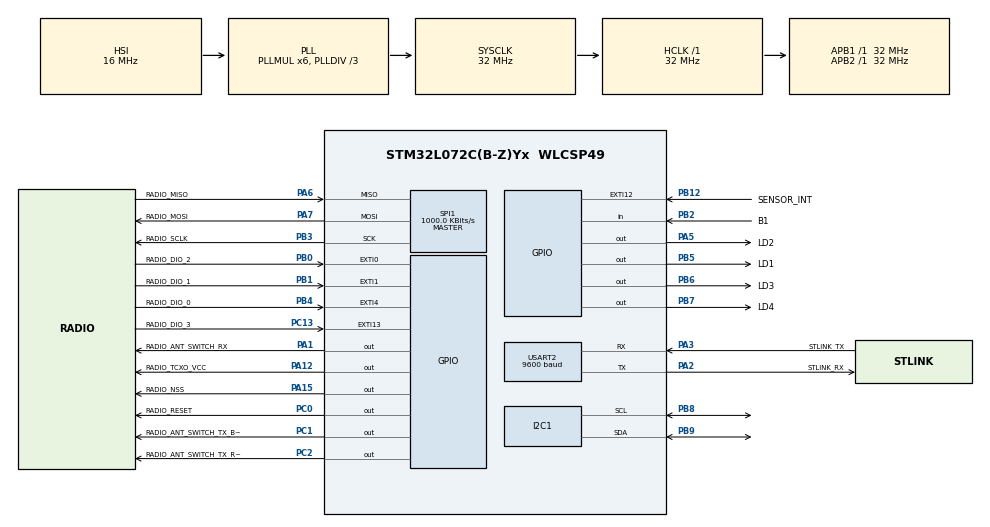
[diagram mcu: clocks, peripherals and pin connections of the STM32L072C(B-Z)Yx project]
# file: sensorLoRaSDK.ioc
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I2C1.Timing=0x00707CBB
Mcu.Family=STM32L0
Mcu.Name=STM32L072C(B-Z)Yx
Mcu.Package=WLCSP49
NVIC.EXTI0_1_IRQn=true\:3\:0\:true\:false\:true\:true\:true\:true
NVIC.EXTI4_15_IRQn=true\:3\:0\:true\:false\:true\:true\:true\:true
NVIC.RTC_IRQn=true\:3\:0\:true\:false\:true\:true\:true\:true
NVIC.TIM6_DAC_IRQn=true\:0\:0\:false\:false\:true\:true\:true\:true
NVIC.USART2_IRQn=true\:2\:0\:true\:false\:true\:true\:true\:true
PA1.GPIO_Label=RADIO_ANT_SWITCH_RX
PA1.GPIO_Speed=GPIO_SPEED_FREQ_HIGH
PA1.PinState=GPIO_PIN_RESET
PA1.Signal=GPIO_Output
PA12.GPIO_Label=RADIO_TCXO_VCC
PA12.GPIO_Speed=GPIO_SPEED_FREQ_HIGH
PA12.Signal=GPIO_Output
PA15.GPIO_Label=RADIO_NSS
PA15.GPIO_Speed=GPIO_SPEED_FREQ_HIGH
PA15.Signal=GPIO_Output
PA2.GPIO_Label=STLINK_RX
PA2.Mode=Asynchronous
PA2.Signal=USART2_TX
PA3.GPIO_Label=STLINK_TX
PA3.Mode=Asynchronous
PA3.Signal=USART2_RX
PA5.GPIO_Label=LD2
PA5.Signal=GPIO_Output
PA6.GPIO_Label=RADIO_MISO
PA6.Mode=Full_Duplex_Master
PA6.Signal=SPI1_MISO
PA7.GPIO_Label=RADIO_MOSI
PA7.Mode=Full_Duplex_Master
PA7.Signal=SPI1_MOSI
PB0.GPIO_Label=RADIO_DIO_2
PB0.Signal=GPXTI0
PB1.GPIO_Label=RADIO_DIO_1
PB1.Signal=GPXTI1
PB12.GPIO_Label=SENSOR_INT
PB12.Signal=GPXTI12
PB2.GPIO_Label=B1
PB2.GPIO_PuPd=GPIO_PULLUP
PB2.Signal=GPIO_Input
PB3.GPIO_Label=RADIO_SCLK
PB3.Mode=Full_Duplex_Master
PB3.Signal=SPI1_SCK
PB4.GPIO_Label=RADIO_DIO_0
PB4.Signal=GPXTI4
PB5.GPIO_Label=LD1
PB5.Signal=GPIO_Output
PB6.GPIO_Label=LD3
PB6.Signal=GPIO_Output
PB7.GPIO_Label=LD4
PB7.Signal=GPIO_Output
PB8.Mode=I2C
PB8.Signal=I2C1_SCL
PB9.Mode=I2C
PB9.Signal=I2C1_SDA
PC0.GPIO_Label=RADIO_RESET
PC0.GPIO_Speed=GPIO_SPEED_FREQ_HIGH
PC0.Signal=GPIO_Output
PC1.GPIO_Label=RADIO_ANT_SWITCH_TX_BOOST
PC1.GPIO_Speed=GPIO_SPEED_FREQ_HIGH
PC1.Signal=GPIO_Output
PC13.GPIO_Label=RADIO_DIO_3
PC13.Signal=GPXTI13
PC14-OSC32_IN.Mode=LSE-External-Oscillator
PC14-OSC32_IN.Signal=RCC_OSC32_IN
PC15-OSC32_OUT.Mode=LSE-External-Oscillator
PC15-OSC32_OUT.Signal=RCC_OSC32_OUT
PC2.GPIO_Label=RADIO_ANT_SWITCH_TX_RFO
PC2.GPIO_Speed=GPIO_SPEED_FREQ_HIGH
PC2.Signal=GPIO_Output
PH0-OSC_IN.Signal=RCC_OSC_IN
PH1-OSC_OUT.Signal=RCC_OSC_OUT
ProjectManager.HeapSize=0x200
ProjectManager.StackSize=0x400
ProjectManager.TargetToolchain=STM32CubeIDE
RCC.AHBFreq_Value=32000000
RCC.APB1Freq_Value=32000000
RCC.APB1TimFreq_Value=32000000
RCC.APB2Freq_Value=32000000
RCC.APB2TimFreq_Value=32000000
RCC.HCLKFreq_Value=32000000
RCC.HSE_VALUE=8000000
RCC.HSI16_VALUE=16000000
RCC.HSI48_VALUE=48000000
RCC.HSI_VALUE=16000000
RCC.Lpuart1ClockSelection=RCC_LPUART1CLKSOURCE_HSI
RCC.MSI_VALUE=2097000
RCC.PLLDIV=RCC_PLLDIV_3
RCC.PLLMUL=RCC_PLLMUL_6
RCC.RTCClockSelection=RCC_RTCCLKSOURCE_LSE
RCC.RTCClockSelectionVirtual=RCC_RTCCLKSOURCE_LSE
RCC.SYSCLKFreq_VALUE=32000000
RCC.SYSCLKSource=RCC_SYSCLKSOURCE_PLLCLK
RCC.Usart2ClockSelection=RCC_USART2CLKSOURCE_HSI
RCC.VCOOutputFreq_Value=96000000
RTC.Alarm-Alarm\ A=RTC_ALARM_A
RTC.AlarmSubSecondMask-Alarm\ A=RTC_ALARMSUBSECONDMASK_NONE
RTC.AsynchPrediv=127
RTC.Format=RTC_FORMAT_BIN
RTC.SynchPrediv=255
SPI1.BaudRatePrescaler=SPI_BAUDRATEPRESCALER_32
SPI1.CalculateBaudRate=1000.0 KBits/s
SPI1.Direction=SPI_DIRECTION_2LINES
SPI1.Mode=SPI_MODE_MASTER
SPI1.VirtualType=VM_MASTER
TIM21.Period=100
TIM21.Prescaler=32000
TIM6.Period=1000
TIM6.Prescaler=32000
USART2.BaudRate=9600
USART2.VirtualMode-Asynchronous=VM_ASYNC
VP_ADC_TempSens_Input.Mode=IN-TempSens
VP_RTC_VS_RTC_Activate.Mode=RTC_Enabled
VP_RTC_VS_RTC_Alarm_A_Intern.Mode=Alarm A
VP_RTC_VS_RTC_Calendar.Mode=RTC_Calendar
VP_RTC_VS_RTC_WakeUp_intern.Mode=WakeUp
VP_TIM21_VS_ClockSourceINT.Mode=Internal
VP_TIM6_VS_ClockSourceINT.Mode=Enable_Timer
board=B-L072Z-LRWAN1

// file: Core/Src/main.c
/* USER CODE BEGIN Header */
/**
  ******************************************************************************
  * @file           : main.c
  * @brief          : Main program body
  ******************************************************************************
  * @attention
  *
  * <h2><center>&copy; Copyright (c) 2020 STMicroelectronics.
  * All rights reserved.</center></h2>
  *
  * This software component is licensed by ST under BSD 3-Clause license,
  * the "License"; You may not use this file except in compliance with the
  * License. You may obtain a copy of the License at:
  *                        opensource.org/licenses/BSD-3-Clause
  *
  ******************************************************************************
  */
/* USER CODE END Header */
#include "main.h"
#include "adc.h"
#include "i2c.h"
#include "rtc.h"
#include "spi.h"
#include "tim.h"
#include "usart.h"
#include "gpio.h"

/* USER CODE BEGIN Includes */
#include <it_sdk/config.h>
#include <it_sdk/itsdk.h>
#include <it_sdk/logger/logger.h>
#include <it_sdk/lorawan/lorawan.h>
#include <it_sdk/eeprom/sdk_config.h>
#include <stdio.h>
#include "bma400func.h"
#include <drivers/sx1276/sx1276.h>
/* USER CODE END Includes */

/* USER CODE BEGIN PV */
 uint8_t seconds[2] = {0};		// Amount of seconds of water flowing on 2 bytes
 uint8_t stopModeActiv;
/* USER CODE END PV */

void SystemClock_Config(void);

int main(void)
{

  /* MCU Configuration--------------------------------------------------------*/

  /* Reset of all peripherals, Initializes the Flash interface and the Systick. */
  HAL_Init();

  /* Configure the system clock */
  SystemClock_Config();

  /* Initialize all configured peripherals */
  MX_GPIO_Init();
  MX_RTC_Init();
  MX_SPI1_Init();
  MX_USART2_UART_Init();
  MX_ADC_Init();
  MX_TIM21_Init();
  MX_I2C1_Init();
  MX_TIM6_Init();
  /* USER CODE BEGIN 2 */

  itsdk_setup();

  // Water flow variables
  uint8_t waterOnOld = 0;								// 0 = off, 1 = on
  uint8_t waterOnNew = 0;								// 0 = off, 1 = on
  stopModeActiv = 0;

  // Due to LEDs wiring
  HAL_GPIO_WritePin(LD4_GPIO_Port, LD3_Pin, GPIO_PIN_SET);
  HAL_GPIO_WritePin(LD4_GPIO_Port, LD4_Pin, GPIO_PIN_SET);
  /* USER CODE END 2 */
  /* Infinite loop */
  while (1)
  {

    /* USER CODE BEGIN 3 */

	  // Checking if water is flowing
	  waterOnOld = waterOnNew;
	  waterOnNew = dataCheck();

	  // Checking if the water state has changed
	  if(waterOnNew != waterOnOld){
		  // Water state changed
		  if(waterOnNew == 1){
			  // Flow's on : start time to count second
			  HAL_TIM_Base_Start_IT(&htim6);
		  }else{
			  // Flow's off : stop timer
			  log_info("Seconds : %d%d\r\n", seconds[1],seconds[0]);
			  HAL_TIM_Base_Stop_IT(&htim6);
			  // Send LoRa if seconds amount is higher than 30s
			  if(seconds[0] > 30 || seconds[1]>0){
				  uint8_t loRaRet = loRaSendVal(seconds);
				  if(loRaRet == 1){
					  seconds[0] = 0;
					  seconds[1] = 0;
				  }
				  else{
					  log_info("seconds not sent");
				  }
			  }
		  }
	  }
	  // If water's definitely off, go to sleep
	  if(waterOnNew == waterOnOld && waterOnNew == 0){
		  //Control the status of the SX1276 Module
		  log_info("state : %d\r\n",SX1276GetStatus());
		  //Go sleep
		  goToStop();
	  }
  }
  /* USER CODE END 3 */
}

void SystemClock_Config(void)
{
  RCC_OscInitTypeDef RCC_OscInitStruct = {0};
  RCC_ClkInitTypeDef RCC_ClkInitStruct = {0};
  RCC_PeriphCLKInitTypeDef PeriphClkInit = {0};

  /** Configure the main internal regulator output voltage
  */
  __HAL_PWR_VOLTAGESCALING_CONFIG(PWR_REGULATOR_VOLTAGE_SCALE1);
  /** Configure LSE Drive Capability
  */
  HAL_PWR_EnableBkUpAccess();
  __HAL_RCC_LSEDRIVE_CONFIG(RCC_LSEDRIVE_LOW);
  /** Initializes the RCC Oscillators according to the specified parameters
  * in the RCC_OscInitTypeDef structure.
  */
  RCC_OscInitStruct.OscillatorType = RCC_OSCILLATORTYPE_HSI|RCC_OSCILLATORTYPE_LSE;
  RCC_OscInitStruct.LSEState = RCC_LSE_ON;
  RCC_OscInitStruct.HSIState = RCC_HSI_ON;
  RCC_OscInitStruct.HSICalibrationValue = RCC_HSICALIBRATION_DEFAULT;
  RCC_OscInitStruct.PLL.PLLState = RCC_PLL_ON;
  RCC_OscInitStruct.PLL.PLLSource = RCC_PLLSOURCE_HSI;
  RCC_OscInitStruct.PLL.PLLMUL = RCC_PLLMUL_6;
  RCC_OscInitStruct.PLL.PLLDIV = RCC_PLLDIV_3;
  if (HAL_RCC_OscConfig(&RCC_OscInitStruct) != HAL_OK)
  {
    Error_Handler();
  }
  /** Initializes the CPU, AHB and APB buses clocks
  */
  RCC_ClkInitStruct.ClockType = RCC_CLOCKTYPE_HCLK|RCC_CLOCKTYPE_SYSCLK
                              |RCC_CLOCKTYPE_PCLK1|RCC_CLOCKTYPE_PCLK2;
  RCC_ClkInitStruct.SYSCLKSource = RCC_SYSCLKSOURCE_PLLCLK;
  RCC_ClkInitStruct.AHBCLKDivider = RCC_SYSCLK_DIV1;
  RCC_ClkInitStruct.APB1CLKDivider = RCC_HCLK_DIV1;
  RCC_ClkInitStruct.APB2CLKDivider = RCC_HCLK_DIV1;

  if (HAL_RCC_ClockConfig(&RCC_ClkInitStruct, FLASH_LATENCY_1) != HAL_OK)
  {
    Error_Handler();
  }
  PeriphClkInit.PeriphClockSelection = RCC_PERIPHCLK_USART2|RCC_PERIPHCLK_I2C1
                              |RCC_PERIPHCLK_RTC;
  PeriphClkInit.Usart2ClockSelection = RCC_USART2CLKSOURCE_HSI;
  PeriphClkInit.I2c1ClockSelection = RCC_I2C1CLKSOURCE_PCLK1;
  PeriphClkInit.RTCClockSelection = RCC_RTCCLKSOURCE_LSE;
  if (HAL_RCCEx_PeriphCLKConfig(&PeriphClkInit) != HAL_OK)
  {
    Error_Handler();
  }
}

/* USER CODE BEGIN 4 */

// Function called by the TIM6 call back
void timFunc(uint8_t val){
	// Counting the amount of seconds with two bytes
	if(seconds[0] == 0xFF){
		seconds[0] = 0;
		seconds[1]++;
	}
	else {
		seconds[0]++;
	}
}

// Stop mode
void goToStop(){
	log_info("Go to sleep baby\r\n");
	stopModeActiv = 1;
	HAL_SuspendTick();
	HAL_PWR_EnterSTOPMode(PWR_MAINREGULATOR_ON, PWR_SLEEPENTRY_WFI);
}

/* USER CODE END 4 */

void Error_Handler(void)
{
}

/************************ (C) COPYRIGHT STMicroelectronics *****END OF FILE****/
